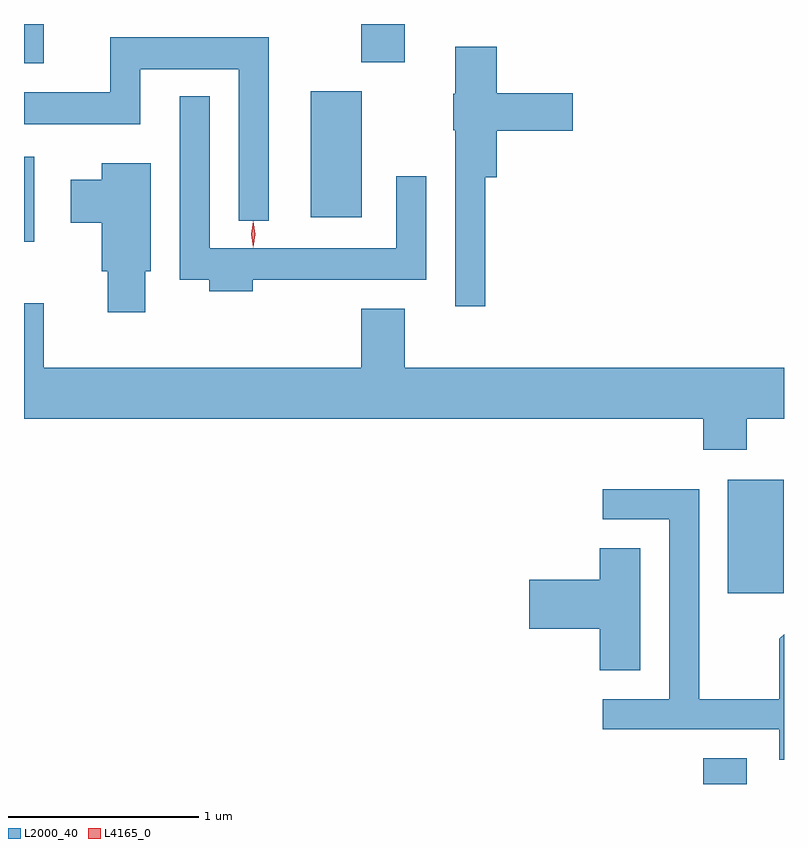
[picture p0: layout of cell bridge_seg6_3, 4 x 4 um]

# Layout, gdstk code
import gdstk
lib = gdstk.Library(unit=1e-6, precision=1e-09)
def R(c, l, rs):  # rectangles x0, y0, x1, y1
    for r in rs: c.add(gdstk.rectangle(r[:2], r[2:], *l))
def P(c, l, *ps):  # polygons
    for p in ps: c.add(gdstk.Polygon(p, *l))
L2000_40 = (2000, 40)
L4165_0 = (4165, 0)

bridge_seg6_3 = lib.new_cell('bridge_seg6_3')
R(bridge_seg6_3, L2000_40, [(1440.911,1652.453,1441.139,1652.589), (1441.041,1653.456,1441.334,1654.054), (1437.336,1655.306,1437.389,1655.754), (1438.846,1655.436,1439.114,1656.099), (1437.336,1656.246,1437.439,1656.453), (1439.111,1656.251,1439.339,1656.453)])
P(bridge_seg6_3, L2000_40, [(1438.624,1656.384),(1437.791,1656.384),(1437.791,1656.094),(1437.336,1656.094),(1437.336,1655.926),(1437.949,1655.926),(1437.949,1656.216),(1438.466,1656.216),(1438.466,1655.418),(1438.624,1655.418)],
  [(1439.764,1655.646),(1439.824,1655.646),(1439.824,1655.891),(1440.224,1655.891),(1440.224,1656.089),(1439.824,1656.089),(1439.824,1656.334),(1439.606,1656.334),(1439.606,1656.085),(1439.596,1656.085),(1439.596,1655.895),(1439.606,1655.895),(1439.606,1654.968),(1439.764,1654.968)],
  [(1438.539,1655.106),(1439.454,1655.106),(1439.454,1655.653),(1439.296,1655.653),(1439.296,1655.274),(1438.314,1655.274),(1438.314,1656.073),(1438.156,1656.073),(1438.156,1655.106),(1438.311,1655.106),(1438.311,1655.046),(1438.539,1655.046)],
  [(1437.974,1655.151),(1438.004,1655.151),(1438.004,1655.719),(1437.746,1655.719),(1437.746,1655.634),(1437.581,1655.634),(1437.581,1655.406),(1437.746,1655.406),(1437.746,1655.151),(1437.776,1655.151),(1437.776,1654.936),(1437.974,1654.936)],
  [(1441.139,1654.376),(1441.336,1654.376),(1441.336,1654.644),(1439.339,1654.644),(1439.339,1654.954),(1439.111,1654.954),(1439.111,1654.644),(1437.439,1654.644),(1437.439,1654.984),(1437.336,1654.984),(1437.336,1654.376),(1440.911,1654.376),(1440.911,1654.211),(1441.139,1654.211)],
  [(1441.336,1653.242),(1441.311,1653.217),(1441.311,1652.899),(1440.889,1652.899),(1440.889,1654.004),(1440.383,1654.004),(1440.383,1653.846),(1440.731,1653.846),(1440.731,1652.899),(1440.383,1652.899),(1440.383,1652.741),(1441.311,1652.741),(1441.311,1652.581),(1441.336,1652.581)],
  [(1440.579,1653.694),(1440.366,1653.694),(1440.366,1653.529),(1439.996,1653.529),(1439.996,1653.271),(1440.366,1653.271),(1440.366,1653.051),(1440.579,1653.051)])
P(bridge_seg6_3, L4165_0, [(1438.542,1655.277),(1438.542,1655.278),(1438.532,1655.347),(1438.542,1655.416),(1438.542,1655.416),(1438.543,1655.416),(1438.552,1655.347),(1438.543,1655.278)])

lib.write_gds('bridge_seg6_3.gds')
